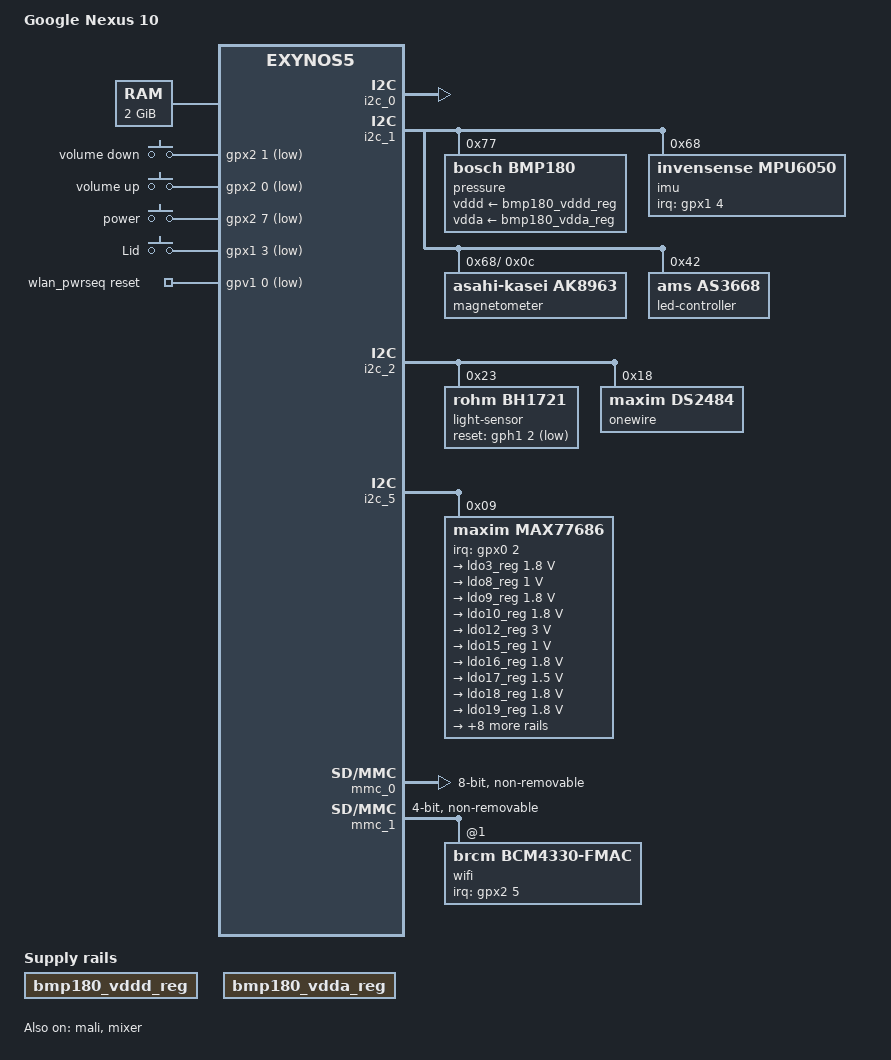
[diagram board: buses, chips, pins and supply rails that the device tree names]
// SPDX-License-Identifier: GPL-2.0
/*
 * Samsung Manta (Google Nexus 10) board device tree source
 *
 * Copyright (c) 2023-2025 Alexandre Marquet
 * Copyright (c) 2025 Lukas Timmermann
 */

/dts-v1/;
#include <dt-bindings/leds/common.h>
#include <dt-bindings/gpio/gpio.h>
#include <dt-bindings/clock/maxim,max77686.h>
#include <dt-bindings/input/linux-event-codes.h>
#include "exynos-pinctrl.h"
#include "exynos5250.dtsi"
#include "exynos-mfc-reserved-memory.dtsi"

/ {
	model = "Google Nexus 10";
	compatible = "samsung,nexus10-manta", "samsung,exynos5250", "samsung,exynos5";

	aliases {
		mmc0 = &mmc_0; /* eMMC */
		mmc1 = &mmc_1; /* WiFi */
	};

	memory@40000000 {
		device_type = "memory";
		reg = <0x40000000 0x20000000
		       0x60000000 0x20000000
		       0x80000000 0x20000000
		       0xa0000000 0x1FF00000>;
	};

	chosen {
		stdout-path = &serial_2;
	};

	firmware@204f000 {
		compatible = "samsung,secure-firmware";
		reg = <0x0204f000 0x1000>;
	};

	fixed-rate-clocks {
		xxti {
			compatible = "samsung,clock-xxti";
			clock-frequency = <24000000>;
		};

		xusbxti {
			compatible = "samsung,clock-xusbxti";
			clock-frequency = <24000000>;
		};
	};

	gpio-keys {
		compatible = "gpio-keys";
		pinctrl-names = "default";
		pinctrl-0 = <&gpio_keys>;

		key-down {
			gpios = <&gpx2 1 GPIO_ACTIVE_LOW>;
			linux,code = <KEY_VOLUMEDOWN>;
			label = "volume down";
			debounce-interval = <5>;
		};

		key-up {
			gpios = <&gpx2 0 GPIO_ACTIVE_LOW>;
			linux,code = <KEY_VOLUMEUP>;
			label = "volume up";
			debounce-interval = <5>;
		};

		key-power {
			gpios = <&gpx2 7 GPIO_ACTIVE_LOW>;
			linux,code = <KEY_POWER>;
			label = "power";
			debounce-interval = <5>;
			wakeup-source;
		};

		lid-switch {
			label = "Lid";
			gpios = <&gpx1 3 GPIO_ACTIVE_LOW>;
			linux,input-type = <5>; /* EV_SW */
			linux,code = <0>; /* SW_LID */
			debounce-interval = <10>;
			wakeup-source;
		};
	};

	multi-led {
		compatible = "leds-group-multicolor";
		color = <LED_COLOR_ID_RGB>;
		function = LED_FUNCTION_STATUS;
		leds = <&status_red>, <&status_green>, <&status_blue>, <&status_white>;
	};

	wlan_pwrseq: mmc1-pwrseq {
		compatible = "mmc-pwrseq-simple";
		reset-gpios = <&gpv1 0 GPIO_ACTIVE_LOW>;
		pinctrl-0 = <&wlan_pmena>;
		pinctrl-names = "default";
		clocks = <&max77686 MAX77686_CLK_PMIC>;
		clock-names = "ext_clock";
		post-power-on-delay-ms = <300>;
		power-off-delay-us = <50>;
	};

	bmp180_vddd_reg: regulator-bmp180-vddd {
		compatible = "regulator-fixed";
		regulator-name = "BMP180_VDDD";
	};

	bmp180_vdda_reg: regulator-bmp180-vdda {
		compatible = "regulator-fixed";
		regulator-name = "BMP180_VDDA";
	};
};

&clock {
	assigned-clocks = <&clock CLK_FOUT_APLL>;
	assigned-clock-rates = <1000000000>;
};

&cpu0 {
	cpu0-supply = <&buck2_reg>;
};

&ehci {
	status = "disabled";
};

&i2c_0 {
	status = "okay";
	samsung,i2c-sda-delay = <100>;
	samsung,i2c-slave-addr = <0x10>;
};

&i2c_1 {
	status = "okay";

	pressure@77 {
		compatible = "bosch,bmp180";
		reg = <0x77>;
		vddd-supply = <&bmp180_vddd_reg>;
		vdda-supply = <&bmp180_vdda_reg>;
	};

	imu@68 {
		compatible = "invensense,mpu6050";
		reg = <0x68>;
		pinctrl-names = "default";
		pinctrl-0 = <&acc_int>;
		interrupt-parent = <&gpx1>;
		interrupts = <4 IRQ_TYPE_EDGE_RISING>;
		mount-matrix = "0",  "-1",  "0",
				"-1",  "0",  "0",
				"0",  "0", "-1";

		i2c-gate {
			#address-cells = <1>;
			#size-cells = <0>;

			magnetometer@c {
				compatible = "asahi-kasei,ak8963";
				reg = <0x0c>;
				pinctrl-names = "default";
				pinctrl-0 = <&msense_rst>;
				mount-matrix = "-1",  "0",  "0",
						"0",  "1",  "0",
						"0",  "0", "-1";
			};
		};
	};

	led-controller@42 {
		compatible = "ams,as3668";
		reg = <0x42>;
		#address-cells = <1>;
		#size-cells = <0>;

		status_red: led@0 {
			reg = <0x0>;
			function = LED_FUNCTION_STATUS;
			color = <LED_COLOR_ID_RED>;
		};

		status_green: led@1 {
			reg = <0x1>;
			function = LED_FUNCTION_STATUS;
			color = <LED_COLOR_ID_GREEN>;
		};

		status_blue: led@2 {
			reg = <0x2>;
			function = LED_FUNCTION_STATUS;
			color = <LED_COLOR_ID_BLUE>;
		};

		status_white: led@3 {
			reg = <0x3>;
			function = LED_FUNCTION_STATUS;
			color = <LED_COLOR_ID_WHITE>;
		};
	};
};

&i2c_2 {
	status = "okay";

	light-sensor@23 {
		compatible = "rohm,bh1721";
		reg = <0x23>;
		pinctrl-names = "default";
		pinctrl-0 = <&bh1721fvc_reset>;
		reset-gpios = <&gph1 2 GPIO_ACTIVE_LOW>;
	};

	onewire@18 {
		compatible = "maxim,ds2484";
		reg = <0x18>;

		pinctrl-names = "default";
		pinctrl-0 = <&onewire_sleep>;
	};
};

&i2c_5 {
	status = "okay";
	samsung,i2c-sda-delay = <100>;

	max77686: pmic@9 {
		compatible = "maxim,max77686";
		reg = <0x09>;
		interrupt-parent = <&gpx0>;
		interrupts = <2 IRQ_TYPE_LEVEL_LOW>;
		pinctrl-names = "default";
		pinctrl-0 = <&max77686_irq>;
		#clock-cells = <1>;
		wakeup-source;

		voltage-regulators {
			ldo3_reg: LDO3 {
				regulator-name = "VCC_1.8V_AP";
				regulator-min-microvolt = <1800000>;
				regulator-max-microvolt = <1800000>;
				regulator-always-on;
				regulator-boot-on;
			};
			ldo8_reg: LDO8 {
				regulator-name = "VMIPI_1.0V";
				regulator-min-microvolt = <1000000>;
				regulator-max-microvolt = <1000000>;
				regulator-always-on;
				regulator-boot-on;
			};
			ldo9_reg: LDO9 {
				regulator-name = "TOUCH_VDD_1.8V";
				regulator-min-microvolt = <1800000>;
				regulator-max-microvolt = <1800000>;
			};
			ldo10_reg: LDO10 {
				regulator-name = "VMIPI_1.8V";
				regulator-min-microvolt = <1800000>;
				regulator-max-microvolt = <1800000>;
				regulator-always-on;
				regulator-boot-on;
			};
			ldo12_reg: LDO12 {
				regulator-name = "VUOTG_3.0V";
				regulator-min-microvolt = <3000000>;
				regulator-max-microvolt = <3000000>;
				regulator-always-on;
				regulator-boot-on;
			};
			ldo15_reg: LDO15 {
				regulator-name = "VHSIC_1.0V";
				regulator-min-microvolt = <1000000>;
				regulator-max-microvolt = <1000000>;
				regulator-always-on;
				regulator-boot-on;
			};
			ldo16_reg: LDO16 {
				regulator-name = "VHSIC_1.8V";
				regulator-min-microvolt = <1800000>;
				regulator-max-microvolt = <1800000>;
				regulator-always-on;
				regulator-boot-on;
			};
			ldo17_reg: LDO17 {
				regulator-name = "5M_CORE_1.5V";
				regulator-min-microvolt = <1500000>;
				regulator-max-microvolt = <1500000>;
			};
			ldo18_reg: LDO18 {
				regulator-name = "CAM_IO_1.8V";
				regulator-min-microvolt = <1800000>;
				regulator-max-microvolt = <1800000>;
			};
			ldo19_reg: LDO19 {
				regulator-name = "VT_CAM_1.8V";
				regulator-min-microvolt = <1800000>;
				regulator-max-microvolt = <1800000>;
			};
			ldo20_reg: LDO20 {
				regulator-name = "TA_CHECK_1.35V";
				regulator-min-microvolt = <1350000>;
				regulator-max-microvolt = <1350000>;
			};
			ldo23_reg: LDO23 {
				regulator-name = "TSP_AVDD_2.8V";
				regulator-min-microvolt = <2800000>;
				regulator-max-microvolt = <2800000>;
			};
			ldo24_reg: LDO24 {
				regulator-name = "CAM_AF_2.8V";
				regulator-min-microvolt = <2800000>;
				regulator-max-microvolt = <2800000>;
			};
			ldo25_reg: LDO25 {
				regulator-name = "VADC_3.3V";
				regulator-min-microvolt = <3300000>;
				regulator-max-microvolt = <3300000>;
				regulator-always-on;
				regulator-boot-on;
			};
			buck1_reg: BUCK1 {
				regulator-name = "vdd_mif";
				regulator-min-microvolt = <850000>;
				regulator-max-microvolt = <1200000>;
				regulator-always-on;
				regulator-boot-on;
			};
			buck2_reg: BUCK2 {
				regulator-name = "vdd_arm";
				regulator-min-microvolt = <850000>;
				regulator-max-microvolt = <1200000>;
				regulator-always-on;
				regulator-boot-on;
			};
			buck3_reg: BUCK3 {
				regulator-name = "vdd_int";
				regulator-min-microvolt = <850000>;
				regulator-max-microvolt = <1200000>;
				regulator-always-on;
				regulator-boot-on;
			};
			buck4_reg: BUCK4 {
				regulator-name = "vdd_g3d";
				regulator-min-microvolt = <850000>;
				regulator-max-microvolt = <1200000>;
				regulator-boot-on;
			};
		};
	};
};

&mali {
	status = "okay";
	mali-supply = <&buck4_reg>;
};

&mixer {
	status = "okay";
};

/* eMMC */
&mmc_0 {
	status = "okay";
	non-removable;
	max-frequency = <200000000>;
	sd-uhs-ddr50;
	mmc-ddr-1_8v;
	cap-mmc-hw-reset;
	mmc-hs200-1_8v;
	bus-width = <8>;
	card-detect-delay = <200>;
	samsung,dw-mshc-ciu-div = <3>;
	samsung,dw-mshc-sdr-timing = <1 2>;
	samsung,dw-mshc-ddr-timing = <2 3>;
	pinctrl-names = "default";
	pinctrl-0 = <&sd0_clk &sd0_cmd &sd0_bus4 &sd0_bus8>;
};

/* WiFi */
&mmc_1 {
	status = "okay";
	non-removable;
	max-frequency = <100000000>;
	sd-uhs-sdr50;
	cap-sd-highspeed;
	keep-power-in-suspend;
	bus-width = <4>;
	card-detect-delay = <0>;
	samsung,dw-mshc-ciu-div = <3>;
	samsung,dw-mshc-sdr-timing = <2 4>;
	samsung,dw-mshc-ddr-timing = <2 3>;
	pinctrl-names = "default";
	pinctrl-0 = <&sd1_clk &sd1_cmd &sd1_bus4>;
	mmc-pwrseq = <&wlan_pwrseq>;

	wifi@1 {
		compatible = "brcm,bcm4330-fmac", "brcm,bcm4329-fmac";
		reg = <1>;
		interrupt-parent = <&gpx2>;
		interrupts = <5 IRQ_TYPE_NONE>;
		interrupt-names = "host-wake";
		pinctrl-names = "default";
		pinctrl-0 = <&wlan_irq>;
	};
};

&ohci {
	status = "disabled";
};

&pinctrl_0 {
	acc_int: acc-int-pins {
		samsung,pins = "gpx1-4";
		samsung,pin-function = <EXYNOS_PIN_FUNC_EINT>;
		samsung,pin-pud = <EXYNOS_PIN_PULL_UP>;
	};

	max77686_irq: max77686-irq-pins {
		samsung,pins = "gpx0-2";
		samsung,pin-function = <EXYNOS_PIN_FUNC_F>;
		samsung,pin-pud = <EXYNOS_PIN_PULL_NONE>;
		samsung,pin-drv = <EXYNOS4_PIN_DRV_LV1>;
	};
	gpio_keys: gpio-keys-pins-pins {
		samsung,pins = "gpx2-0", "gpx2-1", "gpx2-7", "gpx1-3";
		samsung,pin-pud = <EXYNOS_PIN_PULL_NONE>;
	};
	wlan_irq: wlan-irq-pins {
		samsung,pins = "gpx2-5";
		samsung,pin-function = <EXYNOS_PIN_FUNC_INPUT>;
		samsung,pin-pud = <EXYNOS_PIN_PULL_NONE>;
		samsung,pin-drv = <EXYNOS4_PIN_DRV_LV3>;
	};
};

&pinctrl_1 {
	bh1721fvc_reset: bh1721fvc-reset-pins {
		samsung,pins = "gph1-2";
		samsung,pin-function = <EXYNOS_PIN_FUNC_OUTPUT>;
		samsung,pin-pud = <EXYNOS_PIN_PULL_NONE>;
	};
	msense_rst: msense-rst-pins {
		samsung,pins = "gpg2-0";
		samsung,pin-function = <EXYNOS_PIN_FUNC_OUTPUT>;
	};
	onewire_sleep: onewire-sleep-pins {
		samsung,pins = "gpg0-0";
		samsung,pin-function = <EXYNOS_PIN_FUNC_OUTPUT>;
		samsung,pin-pud = <EXYNOS_PIN_PULL_NONE>;
		samsung,pin-con-pdn = <EXYNOS_PIN_PDN_INPUT>;
		samsung,pin-pud-pdn = <EXYNOS_PIN_PULL_NONE>;
	};
};

&pinctrl_2 {
	wlan_pmena: wlan-pmena-pins {
		samsung,pins = "gpv1-0";
		samsung,pin-function = <EXYNOS_PIN_FUNC_OUTPUT>;
		samsung,pin-pud = <EXYNOS_PIN_PULL_NONE>;
		samsung,pin-drv = <EXYNOS4_PIN_DRV_LV3>;
		samsung,pin-con-pdn = <EXYNOS_PIN_PDN_PREV>;
		samsung,pin-val = <0>;
	};
};

&pmu_system_controller {
	assigned-clocks = <&pmu_system_controller 0>;
	assigned-clock-parents = <&clock CLK_FIN_PLL>;
};

&sd1_bus4 {
	samsung,pin-con-pdn = <EXYNOS_PIN_PDN_INPUT>;
	samsung,pin-pud-pdn = <EXYNOS_PIN_PULL_NONE>;
};

&sd1_cmd {
	samsung,pin-con-pdn = <EXYNOS_PIN_PDN_INPUT>;
	samsung,pin-pud-pdn = <EXYNOS_PIN_PULL_NONE>;
};

/* Bluetooth */
&serial_0 {
	status = "disabled";
};

&serial_1 {
	pinctrl-names = "default", "flow-control";
	pinctrl-0 = <&uart1_data>;
	pinctrl-1 = <&uart1_data>, <&uart1_fctl>;
};

&serial_2 {
	pinctrl-names = "default", "flow-control";
	pinctrl-0 = <&uart2_data>;
	pinctrl-1 = <&uart2_data>, <&uart2_fctl>;
};

&usbdrd {
	status = "disabled";
};

&usbdrd_dwc3 {
	status = "disabled";
};

&usbdrd_phy {
	status = "disabled";
};
